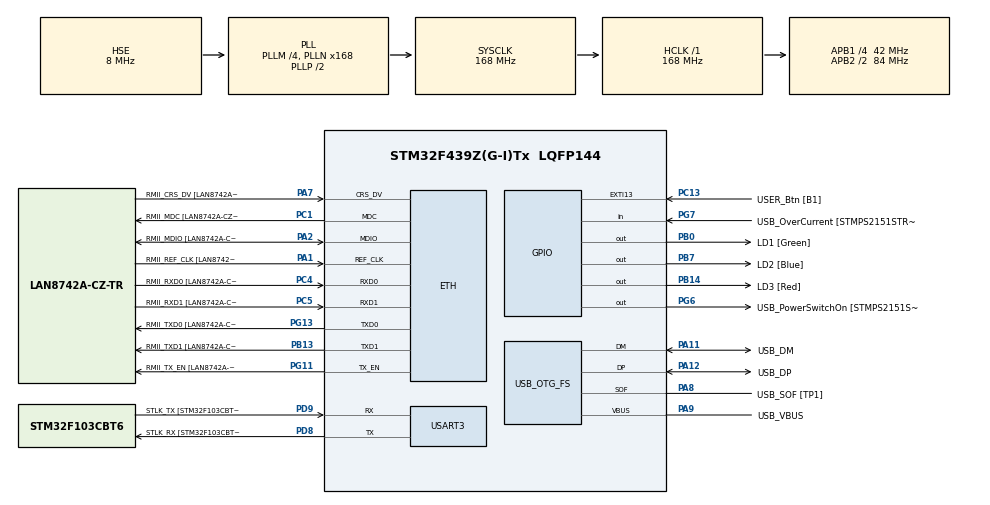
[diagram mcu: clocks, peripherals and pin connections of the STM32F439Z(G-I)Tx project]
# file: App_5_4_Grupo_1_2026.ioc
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ETH.MediaInterface=HAL_ETH_RMII_MODE
ETH.PHY_Name=LAN8742A_PHY_ADDRESS
ETH.PHY_Value=0
ETH.PhyAddress=0
Mcu.Family=STM32F4
Mcu.Name=STM32F439Z(G-I)Tx
Mcu.Package=LQFP144
NVIC.PriorityGroup=NVIC_PRIORITYGROUP_4
PA1.GPIO_Label=RMII_REF_CLK [LAN8742A-CZ-TR_REFCLK0]
PA1.Mode=RMII
PA1.Signal=ETH_REF_CLK
PA10.GPIO_Label=USB_ID
PA10.Signal=USB_OTG_FS_ID
PA11.GPIO_Label=USB_DM
PA11.Mode=Device_Only
PA11.Signal=USB_OTG_FS_DM
PA12.GPIO_Label=USB_DP
PA12.Mode=Device_Only
PA12.Signal=USB_OTG_FS_DP
PA13.GPIO_Label=TMS
PA13.Mode=Serial_Wire
PA13.Signal=SYS_JTMS-SWDIO
PA14.GPIO_Label=TCK
PA14.Mode=Serial_Wire
PA14.Signal=SYS_JTCK-SWCLK
PA2.GPIO_Label=RMII_MDIO [LAN8742A-CZ-TR_MDIO]
PA2.Mode=RMII
PA2.Signal=ETH_MDIO
PA7.GPIO_Label=RMII_CRS_DV [LAN8742A-CZ-TR_CRS_DV]
PA7.Mode=RMII
PA7.Signal=ETH_CRS_DV
PA8.GPIO_Label=USB_SOF [TP1]
PA8.Mode=Activate_SOF_FS
PA8.Signal=USB_OTG_FS_SOF
PA9.GPIO_Label=USB_VBUS
PA9.Mode=Activate_VBUS
PA9.Signal=USB_OTG_FS_VBUS
PB0.GPIO_Label=LD1 [Green]
PB0.Signal=GPIO_Output
PB13.GPIO_Label=RMII_TXD1 [LAN8742A-CZ-TR_TXD1]
PB13.Mode=RMII
PB13.Signal=ETH_TXD1
PB14.GPIO_Label=LD3 [Red]
PB14.Signal=GPIO_Output
PB7.GPIO_Label=LD2 [Blue]
PB7.Signal=GPIO_Output
PC1.GPIO_Label=RMII_MDC [LAN8742A-CZ-TR_MDC]
PC1.Mode=RMII
PC1.Signal=ETH_MDC
PC13.GPIO_Label=USER_Btn [B1]
PC13.Signal=GPXTI13
PC14/OSC32_IN.Mode=LSE-External-Oscillator
PC14/OSC32_IN.Signal=RCC_OSC32_IN
PC15/OSC32_OUT.Mode=LSE-External-Oscillator
PC15/OSC32_OUT.Signal=RCC_OSC32_OUT
PC4.GPIO_Label=RMII_RXD0 [LAN8742A-CZ-TR_RXD0]
PC4.Mode=RMII
PC4.Signal=ETH_RXD0
PC5.GPIO_Label=RMII_RXD1 [LAN8742A-CZ-TR_RXD1]
PC5.Mode=RMII
PC5.Signal=ETH_RXD1
PD8.GPIO_Label=STLK_RX [STM32F103CBT6_PA3]
PD8.Mode=Asynchronous
PD8.Signal=USART3_TX
PD9.GPIO_Label=STLK_TX [STM32F103CBT6_PA2]
PD9.Mode=Asynchronous
PD9.Signal=USART3_RX
PG11.GPIO_Label=RMII_TX_EN [LAN8742A-CZ-TR_TXEN]
PG11.Mode=RMII
PG11.Signal=ETH_TX_EN
PG13.GPIO_Label=RMII_TXD0 [LAN8742A-CZ-TR_TXD0]
PG13.Mode=RMII
PG13.Signal=ETH_TXD0
PG6.GPIO_Label=USB_PowerSwitchOn [STMPS2151STR_EN]
PG6.Signal=GPIO_Output
PG7.GPIO_Label=USB_OverCurrent [STMPS2151STR_FAULT]
PG7.Signal=GPIO_Input
PH0/OSC_IN.GPIO_Label=MCO [STM32F103CBT6_PA8]
PH0/OSC_IN.Mode=HSE-External-Clock-Source
PH0/OSC_IN.Signal=RCC_OSC_IN
PH1/OSC_OUT.Mode=HSE-External-Clock-Source
PH1/OSC_OUT.Signal=RCC_OSC_OUT
ProjectManager.HeapSize=0x200
ProjectManager.StackSize=0x400
ProjectManager.TargetToolchain=STM32CubeIDE
RCC.48MHZClocksFreq_Value=48000000
RCC.AHBFreq_Value=168000000
RCC.APB1CLKDivider=RCC_HCLK_DIV4
RCC.APB1Freq_Value=42000000
RCC.APB1TimFreq_Value=84000000
RCC.APB2CLKDivider=RCC_HCLK_DIV2
RCC.APB2Freq_Value=84000000
RCC.APB2TimCLKDivider=2
RCC.APB2TimFreq_Value=168000000
RCC.CortexFreq_Value=168000000
RCC.HCLKFreq_Value=168000000
RCC.HSE_VALUE=8000000
RCC.HSI_VALUE=16000000
RCC.PLLM=4
RCC.PLLMUL=RCC_PLL_MUL9
RCC.PLLN=168
RCC.PLLQ=7
RCC.PRESCALERUSB=RCC_USBCLKSOURCE_PLL_DIV1_5
RCC.SYSCLKFreq_VALUE=168000000
RCC.SYSCLKSource=RCC_SYSCLKSOURCE_PLLCLK
RCC.SYSCLKSourceVirtual=RCC_SYSCLKSOURCE_PLLCLK
RCC.USBFreq_Value=48000000
RCC.VCOOutputFreq_Value=336000000
USART3.VirtualMode=VM_ASYNC
USB_OTG_FS.VirtualMode=Device_Only
board=NUCLEO-F439ZI

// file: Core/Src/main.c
/* USER CODE BEGIN Header */
/**
  ******************************************************************************
  * @file           : main.c
  * @brief          : Main program body
  ******************************************************************************
  * @attention
  *
  * Copyright (c) 2026 STMicroelectronics.
  * All rights reserved.
  *
  * This software is licensed under terms that can be found in the LICENSE file
  * in the root directory of this software component.
  * If no LICENSE file comes with this software, it is provided AS-IS.
  *
  ******************************************************************************
  */
/* USER CODE END Header */
#include "main.h"
#include "API_GPIO.h"
#include "API_delay.h" // ¡Incluimos nuestro driver de retardos!
#include "API_debounce.h"
#include "string.h"

/* USER CODE BEGIN PD */
#define Cantidad_Led 3
#define LED_AZUL_PORT   GPIOB
#define LED_AZUL_PIN    GPIO_PIN_0
#define LED_ROJO_PORT   GPIOB
#define LED_ROJO_PIN    GPIO_PIN_7
#define LED_VERDE_PORT  GPIOB
#define LED_VERDE_PIN   GPIO_PIN_14
#define ret_frec1 100
#define ret_frec2 250
#define ret_frec3 500
#define ret_frec4 1000
#define ret_frec_default 100
uint8_t secuencia=1;

Led_t Leds[Cantidad_Led] =
{
    {LED_AZUL_PORT, LED_AZUL_PIN},
    {LED_ROJO_PORT, LED_ROJO_PIN},
    {LED_VERDE_PORT, LED_VERDE_PIN}
};
/* USER CODE END PD */

ETH_TxPacketConfig TxConfig;
ETH_DMADescTypeDef  DMARxDscrTab[ETH_RX_DESC_CNT]; /* Ethernet Rx DMA Descriptors */
ETH_DMADescTypeDef  DMATxDscrTab[ETH_TX_DESC_CNT]; /* Ethernet Tx DMA Descriptors */

ETH_HandleTypeDef heth;

UART_HandleTypeDef huart3;

PCD_HandleTypeDef hpcd_USB_OTG_FS;

void SystemClock_Config(void);
static void MX_ETH_Init(void);
static void MX_USART3_UART_Init(void);
static void MX_USB_OTG_FS_PCD_Init(void);

int main(void)
{
  /* MCU Configuration--------------------------------------------------------*/
  HAL_Init();
  SystemClock_Config();
  MX_GPIO_Init();
  MX_ETH_Init();
  MX_USART3_UART_Init();
  MX_USB_OTG_FS_PCD_Init();

  /* USER CODE BEGIN 2 */

  // 1. Declaramos nuestro objeto retardo utilizando la API
  delay_t retardoFrecuencia;

  // 2. Inicializamos el retardo en 100 ms (Tiempo 1 por defecto)
  delayInit(&retardoFrecuencia, 100);

  uint8_t estado_leds = 0; // 0 = Apagados, 1 = Encendidos

  /* USER CODE END 2 */

  while (1)
  {
	  debounceFSM_update();

	          // 2. LÓGICA DE CAMBIO DE SECUENCIA DIRECTO EN EL WHILE
	          // readKey() ya se encarga de los flancos y el anti-rebote.
	          // Solo entrará a este 'if' una vez cada vez que presiones el botón.
	          if (readKey() == true)
	          {
	              secuencia = secuencia + 1;
	              if (secuencia > 4)
	              {
	                  secuencia = 1;
	              }
	          }

      switch (secuencia)
      {
          case 1:
              delayWrite(&retardoFrecuencia, ret_frec1);
              break;
          case 2:
              delayWrite(&retardoFrecuencia, ret_frec2);
              break;
          case 3:
              delayWrite(&retardoFrecuencia, ret_frec3);
              break;
          case 4:
              delayWrite(&retardoFrecuencia, ret_frec4);
              break;
          default:
              delayWrite(&retardoFrecuencia, ret_frec_default);
              secuencia = 1;
              break;
      }

      // 3. Evaluamos si el tiempo se cumplió utilizando delayRead de nuestra API
      if (delayRead(&retardoFrecuencia) == true)
      {
          // Alternamos el estado de TODOS los LEDs simultáneamente
          if (estado_leds == 0)
          {
              for (int i = 0; i < Cantidad_Led; i++)
              {
                  PrenderLed(Leds[i]);
              }
              estado_leds = 1;
          }
          else
          {
              for (int i = 0; i < Cantidad_Led; i++)
              {
                  ApagarLed(Leds[i]);
              }
              estado_leds = 0;
          }
      }
  }
}

void SystemClock_Config(void)
{
  RCC_OscInitTypeDef RCC_OscInitStruct = {0};
  RCC_ClkInitTypeDef RCC_ClkInitStruct = {0};

  __HAL_RCC_PWR_CLK_ENABLE();
  __HAL_PWR_VOLTAGESCALING_CONFIG(PWR_REGULATOR_VOLTAGE_SCALE1);

  RCC_OscInitStruct.OscillatorType = RCC_OSCILLATORTYPE_HSE;
  RCC_OscInitStruct.HSEState = RCC_HSE_BYPASS;
  RCC_OscInitStruct.PLL.PLLState = RCC_PLL_ON;
  RCC_OscInitStruct.PLL.PLLSource = RCC_PLLSOURCE_HSE;
  RCC_OscInitStruct.PLL.PLLM = 4;
  RCC_OscInitStruct.PLL.PLLN = 168;
  RCC_OscInitStruct.PLL.PLLP = RCC_PLLP_DIV2;
  RCC_OscInitStruct.PLL.PLLQ = 7;
  if (HAL_RCC_OscConfig(&RCC_OscInitStruct) != HAL_OK)
  {
    Error_Handler();
  }

  RCC_ClkInitStruct.ClockType = RCC_CLOCKTYPE_HCLK|RCC_CLOCKTYPE_SYSCLK
                              |RCC_CLOCKTYPE_PCLK1|RCC_CLOCKTYPE_PCLK2;
  RCC_ClkInitStruct.SYSCLKSource = RCC_SYSCLKSOURCE_PLLCLK;
  RCC_ClkInitStruct.AHBCLKDivider = RCC_SYSCLK_DIV1;
  RCC_ClkInitStruct.APB1CLKDivider = RCC_HCLK_DIV4;
  RCC_ClkInitStruct.APB2CLKDivider = RCC_HCLK_DIV2;

  if (HAL_RCC_ClockConfig(&RCC_ClkInitStruct, FLASH_LATENCY_5) != HAL_OK)
  {
    Error_Handler();
  }
}

static void MX_ETH_Init(void)
{
   static uint8_t MACAddr[6];

  heth.Instance = ETH;
  MACAddr[0] = 0x00; MACAddr[1] = 0x80; MACAddr[2] = 0xE1;
  MACAddr[3] = 0x00; MACAddr[4] = 0x00; MACAddr[5] = 0x00;
  heth.Init.MACAddr = &MACAddr[0];
  heth.Init.MediaInterface = HAL_ETH_RMII_MODE;
  heth.Init.TxDesc = DMATxDscrTab;
  heth.Init.RxDesc = DMARxDscrTab;
  heth.Init.RxBuffLen = 1524;
  if (HAL_ETH_Init(&heth) != HAL_OK) Error_Handler();

  memset(&TxConfig, 0 , sizeof(ETH_TxPacketConfig));
  TxConfig.Attributes = ETH_TX_PACKETS_FEATURES_CSUM | ETH_TX_PACKETS_FEATURES_CRCPAD;
  TxConfig.ChecksumCtrl = ETH_CHECKSUM_IPHDR_PAYLOAD_INSERT_PHDR_CALC;
  TxConfig.CRCPadCtrl = ETH_CRC_PAD_INSERT;
}

static void MX_USART3_UART_Init(void)
{
  huart3.Instance = USART3;
  huart3.Init.BaudRate = 115200;
  huart3.Init.WordLength = UART_WORDLENGTH_8B;
  huart3.Init.StopBits = UART_STOPBITS_1;
  huart3.Init.Parity = UART_PARITY_NONE;
  huart3.Init.Mode = UART_MODE_TX_RX;
  huart3.Init.HwFlowCtl = UART_HWCONTROL_NONE;
  huart3.Init.OverSampling = UART_OVERSAMPLING_16;
  if (HAL_UART_Init(&huart3) != HAL_OK) Error_Handler();
}

static void MX_USB_OTG_FS_PCD_Init(void)
{
  hpcd_USB_OTG_FS.Instance = USB_OTG_FS;
  hpcd_USB_OTG_FS.Init.dev_endpoints = 4;
  hpcd_USB_OTG_FS.Init.speed = PCD_SPEED_FULL;
  hpcd_USB_OTG_FS.Init.dma_enable = DISABLE;
  hpcd_USB_OTG_FS.Init.phy_itface = PCD_PHY_EMBEDDED;
  hpcd_USB_OTG_FS.Init.Sof_enable = ENABLE;
  hpcd_USB_OTG_FS.Init.low_power_enable = DISABLE;
  hpcd_USB_OTG_FS.Init.lpm_enable = DISABLE;
  hpcd_USB_OTG_FS.Init.vbus_sensing_enable = ENABLE;
  hpcd_USB_OTG_FS.Init.use_dedicated_ep1 = DISABLE;
  if (HAL_PCD_Init(&hpcd_USB_OTG_FS) != HAL_OK) Error_Handler();
}

void Error_Handler(void)
{
  __disable_irq();
  while (1) {}
}
